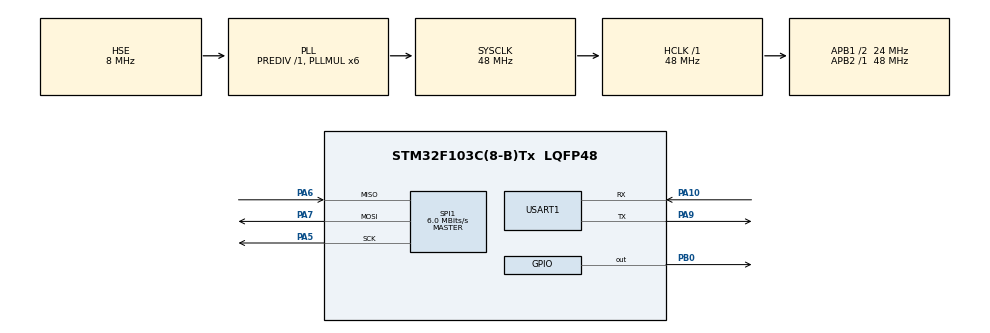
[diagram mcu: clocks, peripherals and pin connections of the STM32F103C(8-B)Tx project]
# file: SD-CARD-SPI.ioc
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FATFS._MAX_SS=4096
FATFS._USE_LFN=1
Mcu.Family=STM32F1
Mcu.Name=STM32F103C(8-B)Tx
Mcu.Package=LQFP48
NVIC.PriorityGroup=NVIC_PRIORITYGROUP_4
PA10.Mode=Asynchronous
PA10.Signal=USART1_RX
PA13.Mode=Serial_Wire
PA13.Signal=SYS_JTMS-SWDIO
PA14.Mode=Serial_Wire
PA14.Signal=SYS_JTCK-SWCLK
PA5.Mode=Full_Duplex_Master
PA5.Signal=SPI1_SCK
PA6.Mode=Full_Duplex_Master
PA6.Signal=SPI1_MISO
PA7.Mode=Full_Duplex_Master
PA7.Signal=SPI1_MOSI
PA9.Mode=Asynchronous
PA9.Signal=USART1_TX
PB0.Signal=GPIO_Output
PD0-OSC_IN.Mode=HSE-External-Oscillator
PD0-OSC_IN.Signal=RCC_OSC_IN
PD1-OSC_OUT.Mode=HSE-External-Oscillator
PD1-OSC_OUT.Signal=RCC_OSC_OUT
ProjectManager.HeapSize=0x200
ProjectManager.StackSize=0x400
ProjectManager.TargetToolchain=STM32CubeIDE
RCC.AHBFreq_Value=48000000
RCC.APB1CLKDivider=RCC_HCLK_DIV2
RCC.APB1Freq_Value=24000000
RCC.APB1TimFreq_Value=48000000
RCC.APB2Freq_Value=48000000
RCC.APB2TimFreq_Value=48000000
RCC.HCLKFreq_Value=48000000
RCC.PLLMUL=RCC_PLL_MUL6
RCC.PLLSourceVirtual=RCC_PLLSOURCE_HSE
RCC.SYSCLKFreq_VALUE=48000000
RCC.SYSCLKSource=RCC_SYSCLKSOURCE_PLLCLK
RCC.USBFreq_Value=48000000
SPI1.BaudRatePrescaler=SPI_BAUDRATEPRESCALER_8
SPI1.CalculateBaudRate=6.0 MBits/s
SPI1.Direction=SPI_DIRECTION_2LINES
SPI1.Mode=SPI_MODE_MASTER
SPI1.VirtualType=VM_MASTER
USART1.VirtualMode=VM_ASYNC
VP_FATFS_VS_Generic.Mode=User_defined
board=custom

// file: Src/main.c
/* USER CODE BEGIN Header */
/**
  ******************************************************************************
  * @file           : main.c
  * @brief          : Main program body
  ******************************************************************************
  * @attention
  *
  * <h2><center>&copy; Copyright (c) 2019 STMicroelectronics.
  * All rights reserved.</center></h2>

  *
  ******************************************************************************
  */
/* USER CODE END Header */

#include "main.h"
#include "fatfs.h"

/* USER CODE BEGIN Includes */
#include "fatfs_sd.h"
#include "string.h"

/* USER CODE END Includes */

SPI_HandleTypeDef hspi1;

UART_HandleTypeDef huart1;

void SystemClock_Config(void);
static void MX_GPIO_Init(void);
static void MX_SPI1_Init(void);
static void MX_USART1_UART_Init(void);

/* USER CODE BEGIN 0 */

FATFS fs;  // file system
FIL fil;  // file
FRESULT fresult;  // to store the result
char buffer[1024]; // to store data

UINT br, bw;   // file read/write count

/* capacity related variables */
FATFS *pfs;
DWORD fre_clust;
uint32_t total, free_space;

/* to send the data to the uart */
void send_uart (char *string)
{
	uint8_t len = strlen (string);
	HAL_UART_Transmit(&huart1, (uint8_t *) string, len, 2000);  // transmit in blocking mode
	//CDC_Transmit_FS((uint8_t *) string, len);
}

/* to find the size of data in the buffer */
int bufsize (char *buf)
{
	int i=0;
	while (*buf++ != '\0') i++;
	return i;
}

void bufclear (void)  // clear buffer
{
	for (int i=0; i<1024; i++)
	{
		buffer[i] = '\0';
	}
}

/* USER CODE END 0 */

int main(void)
{

  /* MCU Configuration--------------------------------------------------------*/

  /* Reset of all peripherals, Initializes the Flash interface and the Systick. */
  HAL_Init();

  /* Configure the system clock */
  SystemClock_Config();

  /* Initialize all configured peripherals */
  MX_GPIO_Init();
  MX_SPI1_Init();
  MX_USART1_UART_Init();
  MX_FATFS_Init();
  /* USER CODE BEGIN 2 */

  /* Mount SD Card */
    fresult = f_mount(&fs, "", 0);
    if (fresult != FR_OK) send_uart ("error in mounting SD CARD...\n");
    else send_uart("SD CARD mounted successfully...\n");

    /*************** Card capacity details ********************/

        /* Check free space */
    /*
        f_getfree("", &fre_clust, &pfs);

        total = (uint32_t)((pfs->n_fatent - 2) * pfs->csize * 0.5);
        sprintf (buffer, "SD CARD Total Size: \t%lu\n",total);
        send_uart(buffer);
        bufclear();
        free_space = (uint32_t)(fre_clust * pfs->csize * 0.5);
        sprintf (buffer, "SD CARD Free Space: \t%lu\n",free_space);
        send_uart(buffer);
*/

        /************* The following operation is using PUTS and GETS *********************/

        /* Open file to write/ create a file if it doesn't exist */
        fresult = f_open(&fil, "EXAMPLE.TXT", FA_OPEN_ALWAYS | FA_READ | FA_WRITE);

        /* Writing text */
        fresult = f_puts("Amir was HERE!!!\n", &fil);

        /* Close file */
        fresult = f_close(&fil);

        /* Close file */
        f_close(&fil);

        bufclear();

        /*************************REMOVING FILES FROM THE DIRECTORY ****************************/
        /* Unmount SDCARD */
        fresult = f_mount(NULL, "", 1);
        if (fresult == FR_OK) send_uart ("SD CARD UNMOUNTED successfully...\n");

  /* USER CODE END 2 */

  /* Infinite loop */
  while (1)
  {

  }
}

void SystemClock_Config(void)
{
  RCC_OscInitTypeDef RCC_OscInitStruct = {0};
  RCC_ClkInitTypeDef RCC_ClkInitStruct = {0};

  /** Initializes the CPU, AHB and APB busses clocks
  */
  RCC_OscInitStruct.OscillatorType = RCC_OSCILLATORTYPE_HSE;
  RCC_OscInitStruct.HSEState = RCC_HSE_ON;
  RCC_OscInitStruct.HSEPredivValue = RCC_HSE_PREDIV_DIV1;
  RCC_OscInitStruct.HSIState = RCC_HSI_ON;
  RCC_OscInitStruct.PLL.PLLState = RCC_PLL_ON;
  RCC_OscInitStruct.PLL.PLLSource = RCC_PLLSOURCE_HSE;
  RCC_OscInitStruct.PLL.PLLMUL = RCC_PLL_MUL6;
  if (HAL_RCC_OscConfig(&RCC_OscInitStruct) != HAL_OK)
  {
    Error_Handler();
  }
  /** Initializes the CPU, AHB and APB busses clocks
  */
  RCC_ClkInitStruct.ClockType = RCC_CLOCKTYPE_HCLK|RCC_CLOCKTYPE_SYSCLK
                              |RCC_CLOCKTYPE_PCLK1|RCC_CLOCKTYPE_PCLK2;
  RCC_ClkInitStruct.SYSCLKSource = RCC_SYSCLKSOURCE_PLLCLK;
  RCC_ClkInitStruct.AHBCLKDivider = RCC_SYSCLK_DIV1;
  RCC_ClkInitStruct.APB1CLKDivider = RCC_HCLK_DIV2;
  RCC_ClkInitStruct.APB2CLKDivider = RCC_HCLK_DIV1;

  if (HAL_RCC_ClockConfig(&RCC_ClkInitStruct, FLASH_LATENCY_1) != HAL_OK)
  {
    Error_Handler();
  }
}

static void MX_SPI1_Init(void)
{

  /* SPI1 parameter configuration*/
  hspi1.Instance = SPI1;
  hspi1.Init.Mode = SPI_MODE_MASTER;
  hspi1.Init.Direction = SPI_DIRECTION_2LINES;
  hspi1.Init.DataSize = SPI_DATASIZE_8BIT;
  hspi1.Init.CLKPolarity = SPI_POLARITY_LOW;
  hspi1.Init.CLKPhase = SPI_PHASE_1EDGE;
  hspi1.Init.NSS = SPI_NSS_SOFT;
  hspi1.Init.BaudRatePrescaler = SPI_BAUDRATEPRESCALER_8;
  hspi1.Init.FirstBit = SPI_FIRSTBIT_MSB;
  hspi1.Init.TIMode = SPI_TIMODE_DISABLE;
  hspi1.Init.CRCCalculation = SPI_CRCCALCULATION_DISABLE;
  hspi1.Init.CRCPolynomial = 10;
  if (HAL_SPI_Init(&hspi1) != HAL_OK)
  {
    Error_Handler();
  }

}

static void MX_USART1_UART_Init(void)
{

  huart1.Instance = USART1;
  huart1.Init.BaudRate = 115200;
  huart1.Init.WordLength = UART_WORDLENGTH_8B;
  huart1.Init.StopBits = UART_STOPBITS_1;
  huart1.Init.Parity = UART_PARITY_NONE;
  huart1.Init.Mode = UART_MODE_TX_RX;
  huart1.Init.HwFlowCtl = UART_HWCONTROL_NONE;
  huart1.Init.OverSampling = UART_OVERSAMPLING_16;
  if (HAL_UART_Init(&huart1) != HAL_OK)
  {
    Error_Handler();
  }

}

static void MX_GPIO_Init(void)
{
  GPIO_InitTypeDef GPIO_InitStruct = {0};

  /* GPIO Ports Clock Enable */
  __HAL_RCC_GPIOD_CLK_ENABLE();
  __HAL_RCC_GPIOA_CLK_ENABLE();
  __HAL_RCC_GPIOB_CLK_ENABLE();

  /*Configure GPIO pin Output Level */
  HAL_GPIO_WritePin(GPIOB, GPIO_PIN_0, GPIO_PIN_RESET);

  /*Configure GPIO pin : PB0 */
  GPIO_InitStruct.Pin = GPIO_PIN_0;
  GPIO_InitStruct.Mode = GPIO_MODE_OUTPUT_PP;
  GPIO_InitStruct.Pull = GPIO_NOPULL;
  GPIO_InitStruct.Speed = GPIO_SPEED_FREQ_LOW;
  HAL_GPIO_Init(GPIOB, &GPIO_InitStruct);

}

void Error_Handler(void)
{
}

/************************ (C) COPYRIGHT STMicroelectronics *****END OF FILE****/
